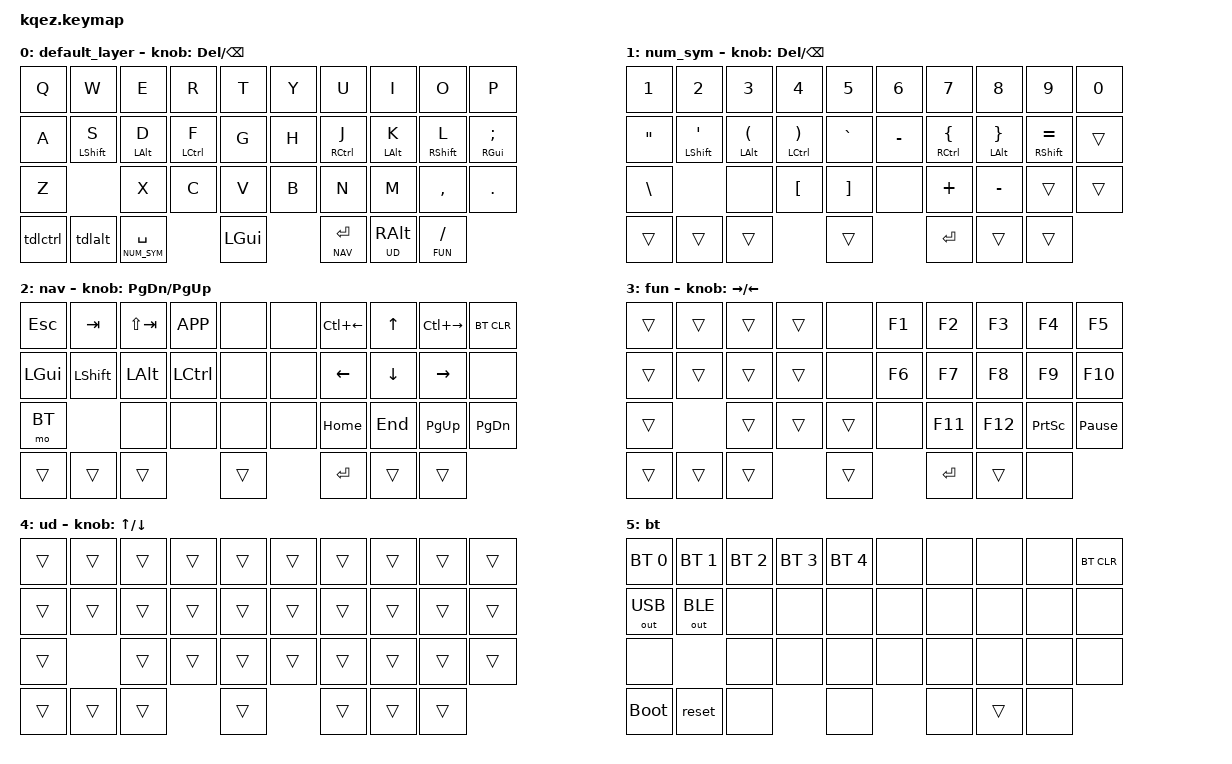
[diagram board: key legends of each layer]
#include <behaviors.dtsi>
#include <dt-bindings/zmk/keys.h>
#include <dt-bindings/zmk/bt.h>
#include <dt-bindings/zmk/outputs.h>

#define DEFAULT 0
#define NUM_SYM 1
#define NAV     2
#define FUN     3
#define UD      4
#define BT      5

/ {
    behaviors {
        hm: homerow_mods {
            compatible = "zmk,behavior-hold-tap";
            label = "homerow mods";
            #binding-cells = <2>;
            tapping-term-ms = <225>;
            flavor = "tap-preferred";
            bindings = <&kp>, <&kp>;
        };

        tdlctrl: tap_dance_lctrl {
            compatible = "zmk,behavior-tap-dance";
            label = "TAP_DANCE_LCTRL";
            #binding-cells = <0>;
            tapping-term-ms = <200>;
            bindings = <&kp LCTRL>, <&kp LSHFT>;
        };

        tdlalt: tap_dance_lalt {
            compatible = "zmk,behavior-tap-dance";
            label = "TAP_DANCE_LALT";
            #binding-cells = <0>;
            tapping-term-ms = <200>;
            bindings = <&kp LALT>, <&kp LGUI>;
        };
    };
};

/ {
    combos {
        compatible = "zmk,combos";
        combo_esc {
            timeout-ms = <50>;
            key-positions = <0 1>;
            bindings = <&kp ESC>;
        };
        combo_tab {
            timeout-ms = <50>;
            key-positions = <1 2>;
            bindings = <&kp TAB>;
        };
        
        combo_bspc {
            timeout-ms = <50>;
            key-positions = <8 9>;
            bindings = <&kp BSPC>;
        };
        combo_del {
            timeout-ms = <50>;
            key-positions = <7 8>;
            bindings = <&kp DEL>;
        };
        combo_ret {
            timeout-ms = <50>;
            key-positions = <18 19>;
            bindings = <&kp RET>;
        };

        combo_cut {
            timeout-ms = <50>;
            key-positions = <20 21>;
            bindings = <&kp LC(X)>;
        };
        combo_copy {
            timeout-ms = <50>;
            key-positions = <21 22>;
            bindings = <&kp LC(C)>;
        };
        combo_paste {
            timeout-ms = <50>;
            key-positions = <22 23>;
            bindings = <&kp LC(V)>;
        };
    };
};

/ {
    keymap {
        compatible = "zmk,keymap";

        default_layer {
            bindings = <
    &kp Q      &kp W      &kp E       &kp R       &kp T  &kp Y  &kp U       &kp I       &kp O      &kp P
    &kp A      &hm LSHFT S &hm LALT D &hm LCTRL F &kp G  &kp H  &hm RCTRL J &hm LALT K &hm RSHFT L &hm RGUI SEMI
    &kp Z                 &kp X       &kp C       &kp V  &kp B  &kp N       &kp M       &kp COMMA  &kp DOT
    &tdlctrl &tdlalt    &lt NUM_SYM SPACE       &kp LGUI      &lt NAV RET   &lt UD RALT  &lt FUN FSLH
            >;

            sensor-bindings = <&inc_dec_kp DEL BSPC>;
        };

        num_sym {
            bindings = <
    &kp N1     &kp N2     &kp N3     &kp N4     &kp N5 &kp N6 &kp N7     &kp N8      &kp N9    &kp N0
    &kp DQT    &hm LSHFT SQT &hm LALT LPAR  &hm LCTRL RPAR &kp GRAVE &kp MINUS &hm RCTRL LBRC &hm LALT RBRC &hm RSHFT EQUAL &trans
    &kp BSLH      &none      &kp LBKT      &kp RBKT  &none  &kp PLUS    &kp MINUS       &trans     &trans
    &trans &trans    &trans                &trans        &kp RET     &trans    &trans
            >;

            sensor-bindings = <&inc_dec_kp DEL BSPC>;
        };

        nav {
            bindings = <
    &kp ESC &kp TAB &kp LS(TAB) &kp K_APP      &none &none &kp LC(LEFT)  &kp UP  &kp LC(RIGHT)     &bt BT_CLR
    &kp LGUI  &kp LSHFT    &kp LALT     &kp LCTRL      &none &none &kp LEFT    &kp DOWN     &kp RIGHT &none
    &mo BT     &none      &none       &none &none &kp HOME       &kp END        &kp PG_UP     &kp PG_DN
    &trans    &trans     &trans                 &trans      &kp RET      &trans    &trans
            >;

            sensor-bindings = <&inc_dec_kp PG_DN PG_UP>;
        };

        fun {
            bindings = <
    &trans &trans &trans &trans      &none &kp F1 &kp F2  &kp F3  &kp F4    &kp F5
    &trans  &trans    &trans     &trans      &none &kp F6 &kp F7    &kp F8     &kp F9 &kp F10
    &trans            &trans     &trans      &trans &none &kp F11   &kp F12    &kp PSCRN   &kp PAUSE_BREAK
    &trans  &trans    &trans                 &trans      &kp RET      &trans    &none
            >;

            sensor-bindings = <&inc_dec_kp RIGHT LEFT>;
        };

        ud {
            bindings = <
    &trans &trans &trans &trans &trans &trans &trans       &trans       &trans     &trans
    &trans     &trans     &trans     &trans      &trans &trans &trans    &trans     &trans &trans
    &trans                 &trans      &trans       &trans &trans &trans       &trans        &trans     &trans
    &trans &trans      &trans                 &trans      &trans      &trans    &trans
            >;

            sensor-bindings = <&inc_dec_kp UP DOWN>;
        };

        bt {
            bindings = <
    &bt BT_SEL 0 &bt BT_SEL 1 &bt BT_SEL 2 &bt BT_SEL 3 &bt BT_SEL 4 &none &none       &none       &none     &bt BT_CLR
    &out OUT_USB     &out OUT_BLE     &none     &none      &none &none &none    &none     &none &none
    &none                 &none      &none       &none &none &none       &none        &none     &none
    &bootloader &reset      &none                 &none      &none      &trans    &none
            >;
        };

    };
};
